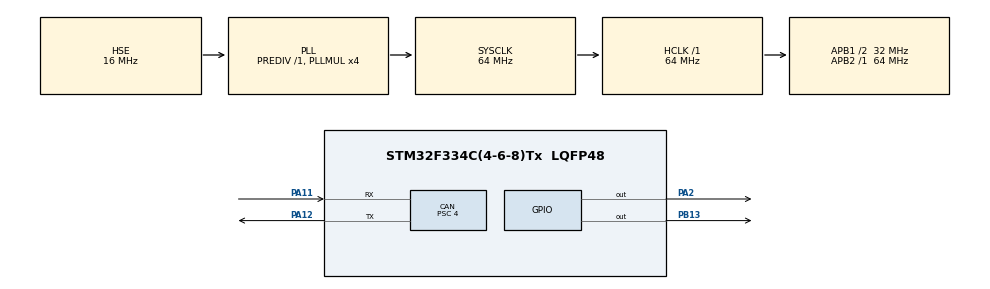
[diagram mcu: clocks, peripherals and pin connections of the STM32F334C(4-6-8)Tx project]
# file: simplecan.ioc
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ADC1.Channel-0\#ChannelRegularConversion=ADC_CHANNEL_TEMPSENSOR
ADC1.NbrOfConversionFlag=1
ADC1.Offset-0\#ChannelRegularConversion=0
ADC1.OffsetNumber-0\#ChannelRegularConversion=ADC_OFFSET_NONE
ADC1.Rank-0\#ChannelRegularConversion=1
ADC1.SamplingTime-0\#ChannelRegularConversion=ADC_SAMPLETIME_1CYCLE_5
ADC1.SamplingTimeOPAMP-0\#ChannelRegularConversion=ADC_SAMPLETIME_61CYCLES_5
ADC1.SubFamily=STM32F334x8
ADC1.master=1
CAN.BS1=CAN_BS1_3TQ
CAN.BS2=CAN_BS2_4TQ
CAN.CalculateBaudRate=1000000
CAN.CalculateTimeBit=1000
CAN.CalculateTimeQuantum=125.0
CAN.Prescaler=4
Mcu.Family=STM32F3
Mcu.Name=STM32F334C(4-6-8)Tx
Mcu.Package=LQFP48
NVIC.PriorityGroup=NVIC_PRIORITYGROUP_4
PA11.Mode=CAN_Activate
PA11.Signal=CAN_RX
PA12.Mode=CAN_Activate
PA12.Signal=CAN_TX
PA13.Mode=Serial_Wire
PA13.Signal=SYS_JTMS-SWDIO
PA14.Mode=Serial_Wire
PA14.Signal=SYS_JTCK-SWCLK
PA2.Signal=GPIO_Output
PB10.Signal=USART3_TX
PB11.Signal=USART3_RX
PB13.Signal=GPIO_Output
PB3.Signal=SYS_JTDO-TRACESWO
PF0\ /\ OSC_IN.Mode=HSE-External-Oscillator
PF0\ /\ OSC_IN.Signal=RCC_OSC_IN
PF1\ /\ OSC_OUT.Mode=HSE-External-Oscillator
PF1\ /\ OSC_OUT.Signal=RCC_OSC_OUT
ProjectManager.HeapSize=0x200
ProjectManager.StackSize=0x400
ProjectManager.TargetToolchain=STM32CubeIDE
RCC.AHBFreq_Value=64000000
RCC.APB1CLKDivider=RCC_HCLK_DIV2
RCC.APB1Freq_Value=32000000
RCC.APB1TimFreq_Value=64000000
RCC.APB2Freq_Value=64000000
RCC.APB2TimFreq_Value=64000000
RCC.CortexFreq_Value=64000000
RCC.HCLKFreq_Value=64000000
RCC.HSE_VALUE=16000000
RCC.HSI_VALUE=8000000
RCC.LSE_VALUE=32768
RCC.PLLMUL=RCC_PLL_MUL4
RCC.PLLSourceVirtual=RCC_PLLSOURCE_HSE
RCC.SYSCLKFreq_VALUE=64000000
RCC.SYSCLKSourceVirtual=RCC_SYSCLKSOURCE_PLLCLK
VP_ADC1_TempSens_Input.Mode=IN-TempSens
board=custom

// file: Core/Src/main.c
/* USER CODE BEGIN Header */
/**
  ******************************************************************************
  * @file           : main.c
  * @brief          : Main program body
  ******************************************************************************
  * @attention
  *
  * Copyright (c) 2026 STMicroelectronics.
  * All rights reserved.
  *
  * This software is licensed under terms that can be found in the LICENSE file
  * in the root directory of this software component.
  * If no LICENSE file comes with this software, it is provided AS-IS.
  *
  ******************************************************************************
  */
/* USER CODE END Header */
#include "main.h"
#include "adc.h"
#include "can.h"
#include "gpio.h"

/* USER CODE BEGIN Includes */
#include <stdio.h>
#include "adc.h"
#include "temperature.h"
/* USER CODE END Includes */

/* USER CODE BEGIN PV */
CAN_RxHeaderTypeDef rxHeader; // CAN Bus Receive Header
CAN_TxHeaderTypeDef txHeaderA1; // CAN Bus Transmit Header for A1 (DEADBEEF)
CAN_TxHeaderTypeDef txHeaderT1; // CAN Bus Transmit Header for T1 (Temperature NMEA 2000)
uint32_t canMailbox; // CAN Bus Mail box variable
CAN_FilterTypeDef canfil; // CAN Bus Filter
uint32_t a1Counter = 0; // Counter for A1 transmission (30 Hz = every 3-4 cycles)
uint32_t t1Counter = 0; // Counter for T1 transmission (1 Hz = every 30 cycles)
uint8_t nmea2000_sid = 0; // NMEA 2000 Sequence ID
/* USER CODE END PV */

void SystemClock_Config(void);

int main(void)
{

  /* MCU Configuration--------------------------------------------------------*/

  /* Reset of all peripherals, Initializes the Flash interface and the Systick. */
  HAL_Init();

  /* Configure the system clock */
  SystemClock_Config();

  /* Initialize all configured peripherals */
  MX_GPIO_Init();
  MX_CAN_Init();
  MX_ADC1_Init();
  /* USER CODE BEGIN 2 */
  HAL_CAN_ConfigFilter(&hcan, &canfil); // Initialize CAN Filter
  HAL_CAN_Start(&hcan);//

  /* Setup A1 CAN message header (DEADBEEF pattern) */
  txHeaderA1.DLC = 8;
  txHeaderA1.IDE = CAN_ID_STD;
  txHeaderA1.RTR = CAN_RTR_DATA;
  txHeaderA1.StdId = 0x0A1; // A1 message ID
  txHeaderA1.TransmitGlobalTime = DISABLE;

  /* Setup T1 CAN message header (NMEA 2000 PGN 130312 - Temperature) */
  txHeaderT1.DLC = 8;
  txHeaderT1.IDE = CAN_ID_EXT; // NMEA 2000 uses extended CAN ID
  txHeaderT1.RTR = CAN_RTR_DATA;
  // NMEA 2000 format: Priority=6, PGN=130312 (0x1FD08), Source=0x01
  // 29-bit ID = (Priority << 26) | (PGN << 8) | Source
  txHeaderT1.ExtId = (6UL << 26) | (130312UL << 8) | 0x01; // 0x19FD0801
  txHeaderT1.TransmitGlobalTime = DISABLE;

  /* Calibrate ADC */
  HAL_ADCEx_Calibration_Start(&hadc1, ADC_SINGLE_ENDED);
  /* USER CODE END 2 */

  /* Infinite loop */
  /* USER CODE BEGIN WHILE */
  while (1)
  {
   // Main loop runs every ~33ms for 30Hz A1 transmission
   HAL_Delay(33U);
   (void) HAL_GPIO_TogglePin(GPIOA, GPIO_PIN_2);

   // Send A1 message (DEADBEEF) at 30 Hz
   a1Counter++;
   uint8_t a1Data[8] = {0xDE, 0xAD, 0xBE, 0xEF, 0x00, 0x00, 0x00, 0x00};
   HAL_CAN_AddTxMessage(&hcan, &txHeaderA1, a1Data, &canMailbox);

   // Send T1 message (Temperature NMEA 2000 PGN 130312) at 1 Hz
   t1Counter++;
   if (t1Counter >= 30) // 30 cycles * 33ms ≈ 1 second
   {
     t1Counter = 0;

     // Read temperature sensor
     float tempCelsius = Temperature_GetCelsius();

     // NMEA 2000 PGN 130312 - Temperature format
     // Temperature in Kelvin with 0.01K resolution: temp_value = (Celsius + 273.15) * 100
     uint16_t tempKelvin = (uint16_t)((tempCelsius + 273.15f) * 100.0f);

     uint8_t t1Data[8];
     t1Data[0] = nmea2000_sid++;              // SID (Sequence ID) - increment each message
     t1Data[1] = 0;                            // Temperature Instance (0 = single sensor)
     t1Data[2] = 1;                            // Temperature Source (1 = Inside Temperature)
     t1Data[3] = (uint8_t)(tempKelvin & 0xFF); // Temperature low byte
     t1Data[4] = (uint8_t)(tempKelvin >> 8);   // Temperature high byte
     t1Data[5] = 0xFF;                         // Reserved
     t1Data[6] = 0xFF;                         // Reserved
     t1Data[7] = 0xFF;                         // Reserved

     // Send NMEA 2000 temperature message
     HAL_CAN_AddTxMessage(&hcan, &txHeaderT1, t1Data, &canMailbox);
   }

    /* USER CODE END WHILE */

  }
}

void SystemClock_Config(void)
{
  RCC_OscInitTypeDef RCC_OscInitStruct = {0};
  RCC_ClkInitTypeDef RCC_ClkInitStruct = {0};
  RCC_PeriphCLKInitTypeDef PeriphClkInit = {0};

  /** Initializes the RCC Oscillators according to the specified parameters
  * in the RCC_OscInitTypeDef structure.
  */
  RCC_OscInitStruct.OscillatorType = RCC_OSCILLATORTYPE_HSE;
  RCC_OscInitStruct.HSEState = RCC_HSE_ON;
  RCC_OscInitStruct.HSEPredivValue = RCC_HSE_PREDIV_DIV1;
  RCC_OscInitStruct.HSIState = RCC_HSI_ON;
  RCC_OscInitStruct.PLL.PLLState = RCC_PLL_ON;
  RCC_OscInitStruct.PLL.PLLSource = RCC_PLLSOURCE_HSE;
  RCC_OscInitStruct.PLL.PLLMUL = RCC_PLL_MUL4;
  if (HAL_RCC_OscConfig(&RCC_OscInitStruct) != HAL_OK)
  {
    Error_Handler();
  }

  /** Initializes the CPU, AHB and APB buses clocks
  */
  RCC_ClkInitStruct.ClockType = RCC_CLOCKTYPE_HCLK|RCC_CLOCKTYPE_SYSCLK
                              |RCC_CLOCKTYPE_PCLK1|RCC_CLOCKTYPE_PCLK2;
  RCC_ClkInitStruct.SYSCLKSource = RCC_SYSCLKSOURCE_PLLCLK;
  RCC_ClkInitStruct.AHBCLKDivider = RCC_SYSCLK_DIV1;
  RCC_ClkInitStruct.APB1CLKDivider = RCC_HCLK_DIV2;
  RCC_ClkInitStruct.APB2CLKDivider = RCC_HCLK_DIV1;

  if (HAL_RCC_ClockConfig(&RCC_ClkInitStruct, FLASH_LATENCY_2) != HAL_OK)
  {
    Error_Handler();
  }
  PeriphClkInit.PeriphClockSelection = RCC_PERIPHCLK_ADC12;
  PeriphClkInit.Adc12ClockSelection = RCC_ADC12PLLCLK_DIV1;
  if (HAL_RCCEx_PeriphCLKConfig(&PeriphClkInit) != HAL_OK)
  {
    Error_Handler();
  }
}

void Error_Handler(void)
{
  __disable_irq();
  while (1)
  {
  }
}
